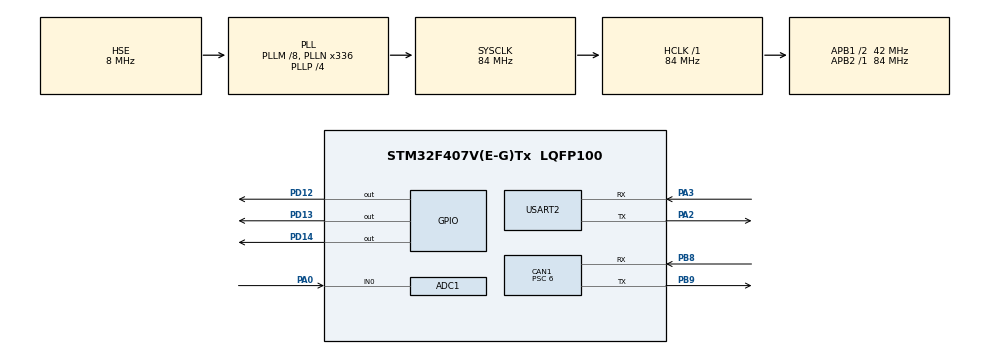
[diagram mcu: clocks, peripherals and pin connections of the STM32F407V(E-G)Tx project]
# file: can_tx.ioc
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ADC1.Channel-2\#ChannelRegularConversion=ADC_CHANNEL_0
ADC1.ContinuousConvMode=ENABLE
ADC1.NbrOfConversionFlag=1
ADC1.Rank-2\#ChannelRegularConversion=1
ADC1.SamplingTime-2\#ChannelRegularConversion=ADC_SAMPLETIME_3CYCLES
ADC1.master=1
CAN1.BS1=CAN_BS1_11TQ
CAN1.BS2=CAN_BS2_2TQ
CAN1.CalculateBaudRate=500000
CAN1.CalculateTimeBit=2000
CAN1.CalculateTimeQuantum=142.85714285714286
CAN1.NART=ENABLE
CAN1.Prescaler=6
Mcu.Family=STM32F4
Mcu.Name=STM32F407V(E-G)Tx
Mcu.Package=LQFP100
NVIC.PriorityGroup=NVIC_PRIORITYGROUP_0
PA0-WKUP.Signal=ADCx_IN0
PA2.Mode=Asynchronous
PA2.Signal=USART2_TX
PA3.Mode=Asynchronous
PA3.Signal=USART2_RX
PB8.Mode=CAN_Activate
PB8.Signal=CAN1_RX
PB9.Mode=CAN_Activate
PB9.Signal=CAN1_TX
PD12.Signal=GPIO_Output
PD13.Signal=GPIO_Output
PD14.Signal=GPIO_Output
PH0-OSC_IN.Mode=HSE-External-Oscillator
PH0-OSC_IN.Signal=RCC_OSC_IN
PH1-OSC_OUT.Mode=HSE-External-Oscillator
PH1-OSC_OUT.Signal=RCC_OSC_OUT
ProjectManager.HeapSize=0x200
ProjectManager.StackSize=0x400
ProjectManager.TargetToolchain=STM32CubeIDE
RCC.48MHZClocksFreq_Value=48000000
RCC.AHBFreq_Value=84000000
RCC.APB1CLKDivider=RCC_HCLK_DIV2
RCC.APB1Freq_Value=42000000
RCC.APB1TimFreq_Value=84000000
RCC.APB2Freq_Value=84000000
RCC.APB2TimFreq_Value=84000000
RCC.CortexFreq_Value=84000000
RCC.HCLKFreq_Value=84000000
RCC.HSE_VALUE=8000000
RCC.HSI_VALUE=16000000
RCC.LSE_VALUE=32768
RCC.PLLM=8
RCC.PLLN=336
RCC.PLLP=RCC_PLLP_DIV4
RCC.PLLQ=7
RCC.PLLSourceVirtual=RCC_PLLSOURCE_HSE
RCC.SYSCLKFreq_VALUE=84000000
RCC.SYSCLKSource=RCC_SYSCLKSOURCE_PLLCLK
RCC.VCOOutputFreq_Value=336000000
SH.ADCx_IN0.0=ADC1_IN0,IN0
USART2.VirtualMode=VM_ASYNC
board=STM32F407G-DISC1

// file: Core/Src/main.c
/* USER CODE BEGIN Header */
/**
  ******************************************************************************
  * @file           : main.c
  * @brief          : Main program body
  ******************************************************************************
  * @attention
  *
  * Copyright (c) 2026 STMicroelectronics.
  * All rights reserved.
  *
  * This software is licensed under terms that can be found in the LICENSE file
  * in the root directory of this software component.
  * If no LICENSE file comes with this software, it is provided AS-IS.
  *
  ******************************************************************************
  */
/* USER CODE END Header */
#include "main.h"

/* USER CODE BEGIN Includes */
#include <stdio.h>
#include <string.h>
/* USER CODE END Includes */

/* USER CODE BEGIN PD */
#define ADC_AVG_SAMPLES      32U
#define ADC_REF_VOLTAGE      3.0f
#define BATTERY_DIVIDER_GAIN 2.052f
/* USER CODE END PD */

ADC_HandleTypeDef hadc1;
CAN_HandleTypeDef hcan1;
UART_HandleTypeDef huart2;

/* USER CODE BEGIN PV */
CAN_TxHeaderTypeDef TxHeader;
CAN_FilterTypeDef CAN_Filter;
uint8_t TxData[8];
uint32_t TxMailbox;

float battery_voltage = 0.0f;
char str[64];
/* USER CODE END PV */

void SystemClock_Config(void);
static void MX_GPIO_Init(void);
static void MX_CAN1_Init(void);
static void MX_ADC1_Init(void);
static void MX_USART2_UART_Init(void);

/* USER CODE BEGIN PFP */
static float Read_Battery_Voltage(void);
/* USER CODE END PFP */

/* USER CODE BEGIN 0 */
static float Read_Battery_Voltage(void)
{
  uint32_t sum = 0U;

  for (uint32_t i = 0; i < ADC_AVG_SAMPLES; i++)
  {
    if (HAL_ADC_Start(&hadc1) != HAL_OK)
    {
      Error_Handler();
    }

    if (HAL_ADC_PollForConversion(&hadc1, HAL_MAX_DELAY) != HAL_OK)
    {
      Error_Handler();
    }

    sum += HAL_ADC_GetValue(&hadc1);

    if (HAL_ADC_Stop(&hadc1) != HAL_OK)
    {
      Error_Handler();
    }
  }

  float adc_avg = (float)sum / (float)ADC_AVG_SAMPLES;
  float adc_voltage = (adc_avg * ADC_REF_VOLTAGE) / 4095.0f;
  return adc_voltage * BATTERY_DIVIDER_GAIN;
}
/* USER CODE END 0 */

int main(void)
{
  /* MCU Configuration--------------------------------------------------------*/
  HAL_Init();

  /* Configure the system clock */
  SystemClock_Config();

  /* Initialize all configured peripherals */
  MX_GPIO_Init();
  MX_CAN1_Init();
  MX_ADC1_Init();
  MX_USART2_UART_Init();

  /* USER CODE BEGIN 2 */
  HAL_UART_Transmit(&huart2, (uint8_t *)"STM32 CAN TX Started\r\n", 22, HAL_MAX_DELAY);

  /* CAN filter: accept all frames (needed for F4 CAN to start cleanly even if TX only) */
  CAN_Filter.FilterBank = 0;
  CAN_Filter.FilterMode = CAN_FILTERMODE_IDMASK;
  CAN_Filter.FilterScale = CAN_FILTERSCALE_32BIT;
  CAN_Filter.FilterIdHigh = 0x0000;
  CAN_Filter.FilterIdLow = 0x0000;
  CAN_Filter.FilterMaskIdHigh = 0x0000;
  CAN_Filter.FilterMaskIdLow = 0x0000;
  CAN_Filter.FilterFIFOAssignment = CAN_FILTER_FIFO0;
  CAN_Filter.FilterActivation = ENABLE;
  CAN_Filter.SlaveStartFilterBank = 14; /* harmless on single CAN instance */
  if (HAL_CAN_ConfigFilter(&hcan1, &CAN_Filter) != HAL_OK)
  {
    Error_Handler();
  }

  if (HAL_CAN_Start(&hcan1) != HAL_OK)
  {
    Error_Handler();
  }

  TxHeader.StdId = 0x321;
  TxHeader.ExtId = 0x00;
  TxHeader.IDE = CAN_ID_STD;
  TxHeader.RTR = CAN_RTR_DATA;
  TxHeader.DLC = 2;
  TxHeader.TransmitGlobalTime = DISABLE;
  /* USER CODE END 2 */

  /* Infinite loop */
  /* USER CODE BEGIN WHILE */
  while (1)
  {
    battery_voltage = Read_Battery_Voltage();

    /* Scale voltage by 100 and transmit as 2 bytes */
    uint16_t batt = (uint16_t)(battery_voltage * 100.0f);

    TxData[0] = (uint8_t)((batt >> 8) & 0xFF);
    TxData[1] = (uint8_t)(batt & 0xFF);

    /* If all mailboxes are occupied, try to clear them */
    if (HAL_CAN_GetTxMailboxesFreeLevel(&hcan1) == 0U)
    {
      HAL_CAN_AbortTxRequest(&hcan1, CAN_TX_MAILBOX0);
      HAL_CAN_AbortTxRequest(&hcan1, CAN_TX_MAILBOX1);
      HAL_CAN_AbortTxRequest(&hcan1, CAN_TX_MAILBOX2);
    }

    if (HAL_CAN_AddTxMessage(&hcan1, &TxHeader, TxData, &TxMailbox) != HAL_OK)
    {
      uint32_t err = HAL_CAN_GetError(&hcan1);
      (void)err;
      HAL_GPIO_WritePin(GPIOD, GPIO_PIN_14, GPIO_PIN_SET);
    }
    else
    {
      HAL_GPIO_TogglePin(GPIOD, GPIO_PIN_12);
    }

//    snprintf(str, sizeof(str), "Battery_Voltage = %.2f V\r\n", battery_voltage);
//    HAL_UART_Transmit(&huart2, (uint8_t *)str, strlen(str), HAL_MAX_DELAY);
//
//    HAL_Delay(1000);
  }
  /* USER CODE END WHILE */

}

void SystemClock_Config(void)
{
  RCC_OscInitTypeDef RCC_OscInitStruct = {0};
  RCC_ClkInitTypeDef RCC_ClkInitStruct = {0};

  __HAL_RCC_PWR_CLK_ENABLE();
  __HAL_PWR_VOLTAGESCALING_CONFIG(PWR_REGULATOR_VOLTAGE_SCALE1);

  RCC_OscInitStruct.OscillatorType = RCC_OSCILLATORTYPE_HSE;
  RCC_OscInitStruct.HSEState = RCC_HSE_ON;
  RCC_OscInitStruct.PLL.PLLState = RCC_PLL_ON;
  RCC_OscInitStruct.PLL.PLLSource = RCC_PLLSOURCE_HSE;
  RCC_OscInitStruct.PLL.PLLM = 8;
  RCC_OscInitStruct.PLL.PLLN = 336;
  RCC_OscInitStruct.PLL.PLLP = RCC_PLLP_DIV4;
  RCC_OscInitStruct.PLL.PLLQ = 7;
  if (HAL_RCC_OscConfig(&RCC_OscInitStruct) != HAL_OK)
  {
    Error_Handler();
  }

  RCC_ClkInitStruct.ClockType = RCC_CLOCKTYPE_HCLK | RCC_CLOCKTYPE_SYSCLK |
                                RCC_CLOCKTYPE_PCLK1 | RCC_CLOCKTYPE_PCLK2;
  RCC_ClkInitStruct.SYSCLKSource = RCC_SYSCLKSOURCE_PLLCLK;
  RCC_ClkInitStruct.AHBCLKDivider = RCC_SYSCLK_DIV1;
  RCC_ClkInitStruct.APB1CLKDivider = RCC_HCLK_DIV2;
  RCC_ClkInitStruct.APB2CLKDivider = RCC_HCLK_DIV1;

  if (HAL_RCC_ClockConfig(&RCC_ClkInitStruct, FLASH_LATENCY_2) != HAL_OK)
  {
    Error_Handler();
  }
}

static void MX_ADC1_Init(void)
{
  ADC_ChannelConfTypeDef sConfig = {0};

  hadc1.Instance = ADC1;
  hadc1.Init.ClockPrescaler = ADC_CLOCK_SYNC_PCLK_DIV4;
  hadc1.Init.Resolution = ADC_RESOLUTION_12B;
  hadc1.Init.ScanConvMode = DISABLE;
  hadc1.Init.ContinuousConvMode = DISABLE;
  hadc1.Init.DiscontinuousConvMode = DISABLE;
  hadc1.Init.ExternalTrigConvEdge = ADC_EXTERNALTRIGCONVEDGE_NONE;
  hadc1.Init.ExternalTrigConv = ADC_SOFTWARE_START;
  hadc1.Init.DataAlign = ADC_DATAALIGN_RIGHT;
  hadc1.Init.NbrOfConversion = 1;
  hadc1.Init.DMAContinuousRequests = DISABLE;
  hadc1.Init.EOCSelection = ADC_EOC_SINGLE_CONV;

  if (HAL_ADC_Init(&hadc1) != HAL_OK)
  {
    Error_Handler();
  }

  sConfig.Channel = ADC_CHANNEL_0;
  sConfig.Rank = 1;
  sConfig.SamplingTime = ADC_SAMPLETIME_84CYCLES;

  if (HAL_ADC_ConfigChannel(&hadc1, &sConfig) != HAL_OK)
  {
    Error_Handler();
  }
}

static void MX_CAN1_Init(void)
{
  hcan1.Instance = CAN1;
  hcan1.Init.Prescaler = 6;
  hcan1.Init.Mode = CAN_MODE_NORMAL;
  hcan1.Init.SyncJumpWidth = CAN_SJW_1TQ;
  hcan1.Init.TimeSeg1 = CAN_BS1_11TQ;
  hcan1.Init.TimeSeg2 = CAN_BS2_2TQ;
  hcan1.Init.TimeTriggeredMode = DISABLE;
  hcan1.Init.AutoBusOff = DISABLE;
  hcan1.Init.AutoWakeUp = DISABLE;
  hcan1.Init.AutoRetransmission = ENABLE;
  hcan1.Init.ReceiveFifoLocked = DISABLE;
  hcan1.Init.TransmitFifoPriority = DISABLE;

  if (HAL_CAN_Init(&hcan1) != HAL_OK)
  {
    Error_Handler();
  }
}

static void MX_USART2_UART_Init(void)
{
  huart2.Instance = USART2;
  huart2.Init.BaudRate = 115200;
  huart2.Init.WordLength = UART_WORDLENGTH_8B;
  huart2.Init.StopBits = UART_STOPBITS_1;
  huart2.Init.Parity = UART_PARITY_NONE;
  huart2.Init.Mode = UART_MODE_TX_RX;
  huart2.Init.HwFlowCtl = UART_HWCONTROL_NONE;
  huart2.Init.OverSampling = UART_OVERSAMPLING_16;

  if (HAL_UART_Init(&huart2) != HAL_OK)
  {
    Error_Handler();
  }
}

static void MX_GPIO_Init(void)
{
  GPIO_InitTypeDef GPIO_InitStruct = {0};

  __HAL_RCC_GPIOH_CLK_ENABLE();
  __HAL_RCC_GPIOA_CLK_ENABLE();
  __HAL_RCC_GPIOD_CLK_ENABLE();
  __HAL_RCC_GPIOB_CLK_ENABLE();

  HAL_GPIO_WritePin(GPIOD, GPIO_PIN_12 | GPIO_PIN_13 | GPIO_PIN_14, GPIO_PIN_RESET);

  GPIO_InitStruct.Pin = GPIO_PIN_12 | GPIO_PIN_13 | GPIO_PIN_14;
  GPIO_InitStruct.Mode = GPIO_MODE_OUTPUT_PP;
  GPIO_InitStruct.Pull = GPIO_NOPULL;
  GPIO_InitStruct.Speed = GPIO_SPEED_FREQ_LOW;
  HAL_GPIO_Init(GPIOD, &GPIO_InitStruct);
}

void Error_Handler(void)
{
  __disable_irq();
  while (1)
  {
  }
}
